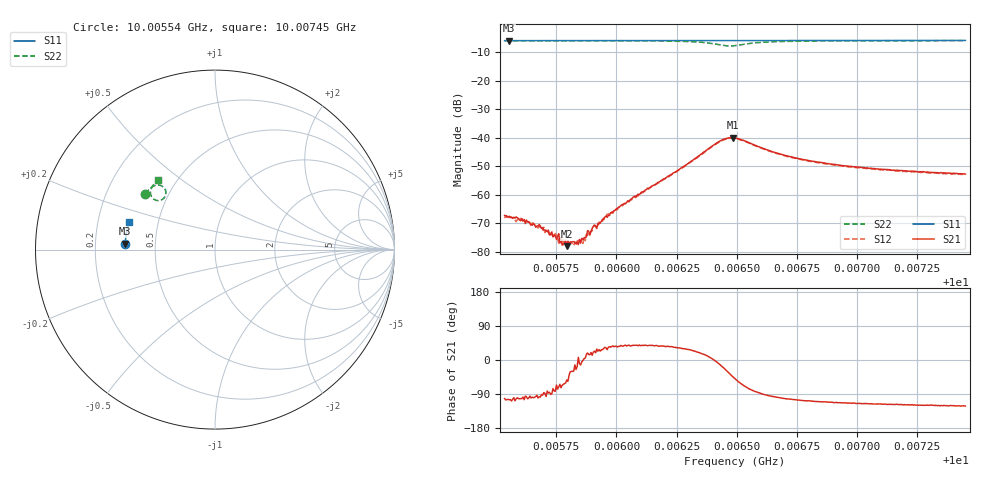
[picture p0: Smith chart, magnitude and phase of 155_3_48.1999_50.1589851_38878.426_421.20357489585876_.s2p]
#  HZ  S  RI  R  50.00
! Rohde & Schwarz Vector Network Analyzer
! Rohde-Schwarz,ZNB20-2Port,1311601062101988,3.16
! Created: UTC 3/20/2024, 11:42:59 AM
! freq[Hz]  re:S11  im:S11  re:S21  im:S21  re:S12  im:S12  re:S22  im:S22
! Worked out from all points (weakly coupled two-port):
!   401 points, 10.00554 GHz to 10.00745 GHz, reference 50 ohm
!   highest |S21| = -40.02 dB at 10.00648 GHz (marker M1); lowest = -78.0 dB at 10.00579 GHz (marker M2)
!   lowest |S11| = -6.0 dB at 10.00555 GHz (marker M3), VSWR 3.01, Z = 16.7 + j1.5 ohm
!   |S11| at or under -10 dB: nowhere
!   |S22| runs from -7.9 to -6.0 dB; largest |S21 - S12| = 0.00058
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1.0005536e10  -0.4997 0.0323  -8.87e-05 -0.000426  -6.14e-05 -0.000384  -0.3886 0.3096
1.0005555e10  -0.4995 0.0336  -0.000108 -0.000408  -7.59e-05 -0.000396  -0.3876 0.3108
1.0005584e10  -0.4995 0.0355  -8.89e-05 -0.0004  -5.69e-05 -0.000333  -0.3863 0.3124
1.0005689e10  -0.4993 0.0424  -5.36e-06 -0.000258  1.77e-05 -0.00028  -0.3815 0.3188
1.0005751e10  -0.499 0.0465  6.68e-05 -0.000153  6.71e-05 -0.000185  -0.3783 0.3225
1.0005775e10  -0.499 0.0481  5.2e-05 -0.000121  9.04e-05 -0.000156  -0.3771 0.3242
1.0005794e10  -0.4988 0.0491  7.68e-05 -9.98e-05  0.000114 -7.34e-05  -0.3762 0.3253
1.0005823e10  -0.4987 0.0512  0.000133 -7.47e-05  0.000118 -5.2e-05  -0.3745 0.3272
1.0005842e10  -0.4987 0.0522  0.000133 1.66e-05  0.000157 -1.39e-05  -0.3735 0.3285
1.0005856e10  -0.4985 0.0533  0.000171 -1.5e-05  0.000172 -4.46e-07  -0.3726 0.3294
1.0005871e10  -0.4984 0.0542  0.00018 1.6e-05  0.000157 -2.84e-06  -0.3717 0.3303
1.0005904e10  -0.4983 0.0564  0.000263 9.92e-05  0.00026 8.68e-05  -0.3697 0.3325
1.0005961e10  -0.4979 0.0601  0.000358 0.000184  0.000377 0.000258  -0.3659 0.3365
1.0006067e10  -0.4972 0.067  0.000689 0.000548  0.000622 0.000559  -0.3579 0.3438
1.0006177e10  -0.4964 0.074  0.00134 0.00099  0.00124 0.00104  -0.3461 0.3521
1.0006421e10  -0.4936 0.0896  0.00824 -0.00105  0.00808 -0.000611  -0.2753 0.3286
1.0006483e10  -0.4929 0.0929  0.00718 -0.00692  0.00737 -0.00638  -0.2955 0.2784
1.0006493e10  -0.4929 0.0936  0.0064 -0.00751  0.00666 -0.007  -0.3037 0.2749
1.0006665e10  -0.4919 0.1045  -0.000759 -0.00536  -0.000513 -0.00526  -0.3598 0.3196
1.0006813e10  -0.4902 0.114  -0.00123 -0.00367  -0.00106 -0.00365  -0.3537 0.3432
1.0007134e10  -0.4857 0.1343  -0.00125 -0.00246  -0.00111 -0.00247  -0.336 0.3693
1.000745e10  -0.4805 0.154  -0.0012 -0.00196  -0.00108 -0.00197  -0.3193 0.3869
